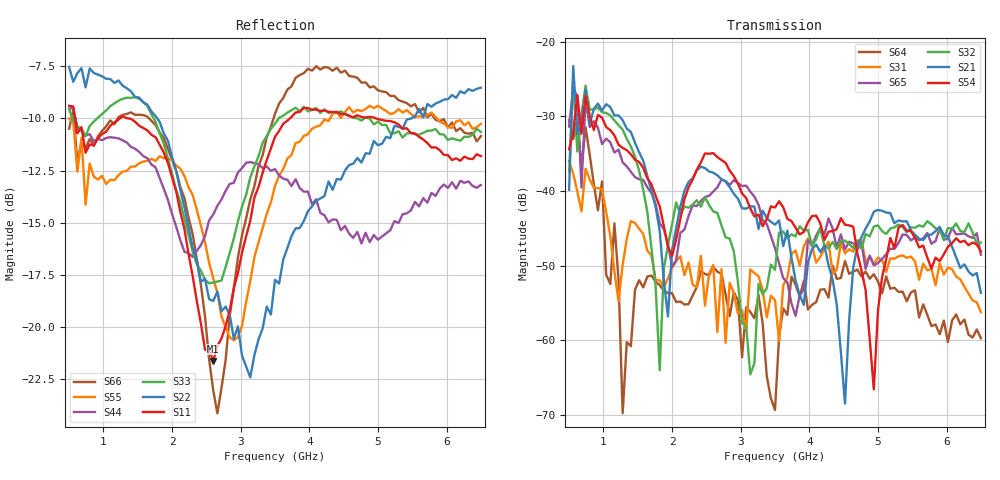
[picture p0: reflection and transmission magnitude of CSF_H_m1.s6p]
!Keysight Technologies,M9804A,MY58100912,A.14.10.03
!Date: Thursday, April 27, 2023 10:28:33
!Correction: S11(C  6-Port  )
!S12(C  6-Port  )
!S13(C  6-Port  )
!S14(C  6-Port  )
!S15(C  6-Port  )
!S16(C  6-Port  )
!S21(C  6-Port  )
!S22(C  6-Port  )
!S23(C  6-Port  )
!S24(C  6-Port  )
!S25(C  6-Port  )
!S26(C  6-Port  )
!S31(C  6-Port  )
!S32(C  6-Port  )
!S33(C  6-Port  )
!S34(C  6-Port  )
!S35(C  6-Port  )
!S36(C  6-Port  )
!S41(C  6-Port  )
!S42(C  6-Port  )
!S43(C  6-Port  )
!S44(C  6-Port  )
!S45(C  6-Port  )
!S46(C  6-Port  )
!S51(C  6-Port  )
!S52(C  6-Port  )
!S53(C  6-Port  )
!S54(C  6-Port  )
!S55(C  6-Port  )
!S56(C  6-Port  )
!S61(C  6-Port  )
!S62(C  6-Port  )
!S63(C  6-Port  )
!S64(C  6-Port  )
!S65(C  6-Port  )
!S66(C  6-Port  )
!S6P File: Measurement: :
# Hz S  RI  R 50
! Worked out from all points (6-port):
!   101 points, 500 MHz to 6.5 GHz, reference 50 ohm
!   strongest paths, dB at 500 MHz, 2 GHz, 3.5 GHz, 5 GHz, 6.5 GHz:
!     S54: -34.4, -48.7, -42.2, -56.1, -48.1
!     S21: -39.8, -47.9, -44.5, -42.5, -53.7
!     S32: -37.4, -44.5, -50.6, -44.6, -46.9
!     S65: -31.4, -50.2, -47.7, -49.7, -48.6
!     S31: -36.0, -50.3, -54.6, -49.0, -56.3
!     S64: -30.5, -53.7, -69.4, -52.1, -59.7
!   lowest |S11| = -21.6 dB at 2.6 GHz (marker M1), VSWR 1.18, Z = 42.6 + j2.05 ohm
!   |S11| at or under -10 dB: 586.9 MHz to 1.239 GHz (652 MHz wide, 71.4 % of centre); 1.368 GHz to 3.716 GHz (2.348 GHz wide, 92.4 % of centre); 4.974 GHz to end of sweep
